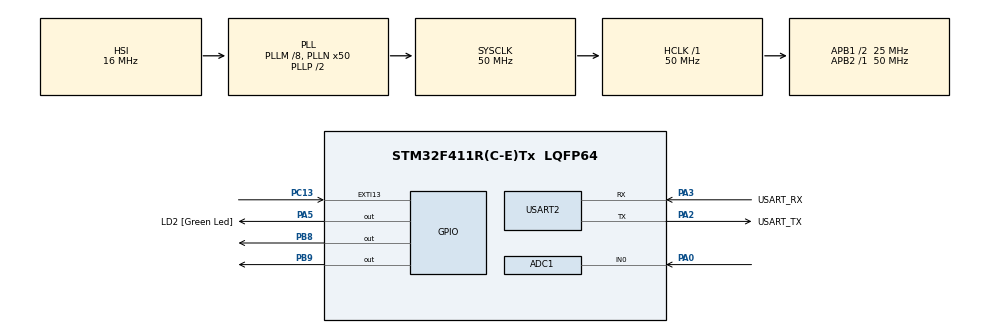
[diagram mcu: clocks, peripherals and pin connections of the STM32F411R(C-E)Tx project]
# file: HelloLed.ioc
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ADC1.Channel-2\#ChannelRegularConversion=ADC_CHANNEL_0
ADC1.NbrOfConversion=1
ADC1.NbrOfConversionFlag=1
ADC1.Rank-2\#ChannelRegularConversion=1
ADC1.SamplingTime-2\#ChannelRegularConversion=ADC_SAMPLETIME_3CYCLES
ADC1.master=1
Mcu.Family=STM32F4
Mcu.Name=STM32F411R(C-E)Tx
Mcu.Package=LQFP64
NVIC.PriorityGroup=NVIC_PRIORITYGROUP_0
PA0-WKUP.Signal=ADCx_IN0
PA13.GPIO_Label=TMS
PA13.Mode=Serial_Wire
PA13.Signal=SYS_JTMS-SWDIO
PA14.GPIO_Label=TCK
PA14.Mode=Serial_Wire
PA14.Signal=SYS_JTCK-SWCLK
PA2.GPIO_Label=USART_TX
PA2.Mode=Asynchronous
PA2.Signal=USART2_TX
PA3.GPIO_Label=USART_RX
PA3.Mode=Asynchronous
PA3.Signal=USART2_RX
PA5.GPIO_Label=LD2 [Green Led]
PA5.Signal=GPIO_Output
PB3.GPIO_Label=SWO
PB3.Signal=SYS_JTDO-SWO
PB8.Signal=GPIO_Output
PB9.Signal=GPIO_Output
PC13-ANTI_TAMP.Signal=GPXTI13
PC14-OSC32_IN.Mode=LSE-External-Oscillator
PC14-OSC32_IN.Signal=RCC_OSC32_IN
PC15-OSC32_OUT.Mode=LSE-External-Oscillator
PC15-OSC32_OUT.Signal=RCC_OSC32_OUT
PH0\ -\ OSC_IN.Mode=HSE-External-Clock-Source
PH0\ -\ OSC_IN.Signal=RCC_OSC_IN
PH1\ -\ OSC_OUT.Mode=HSE-External-Clock-Source
PH1\ -\ OSC_OUT.Signal=RCC_OSC_OUT
ProjectManager.HeapSize=0x200
ProjectManager.StackSize=0x400
ProjectManager.TargetToolchain=STM32CubeIDE
RCC.48MHZClocksFreq_Value=25000000
RCC.AHBFreq_Value=50000000
RCC.APB1CLKDivider=RCC_HCLK_DIV2
RCC.APB1Freq_Value=25000000
RCC.APB1TimFreq_Value=50000000
RCC.APB2Freq_Value=50000000
RCC.APB2TimFreq_Value=50000000
RCC.CortexFreq_Value=50000000
RCC.FLatency-AdvancedSettings=FLASH_LATENCY_1
RCC.HCLKFreq_Value=50000000
RCC.HSE_VALUE=8000000
RCC.HSI_VALUE=16000000
RCC.PLLM=8
RCC.PLLN=50
RCC.SYSCLKFreq_VALUE=50000000
RCC.SYSCLKSource=RCC_SYSCLKSOURCE_PLLCLK
RCC.VCOOutputFreq_Value=100000000
SH.ADCx_IN0.0=ADC1_IN0,IN0
USART2.VirtualMode=VM_ASYNC
board=NUCLEO-F411RE

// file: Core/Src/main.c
/* USER CODE BEGIN Header */
/**
  ******************************************************************************
  * @file           : main.c
  * @brief          : Main program body
  ******************************************************************************
  * @attention
  *
  * <h2><center>&copy; Copyright (c) 2020 STMicroelectronics.
  * All rights reserved.</center></h2>
  *
  * This software component is licensed by ST under BSD 3-Clause license,
  * the "License"; You may not use this file except in compliance with the
  * License. You may obtain a copy of the License at:
  *                        opensource.org/licenses/BSD-3-Clause
  *
  ******************************************************************************
  */
/* USER CODE END Header */
#include "main.h"

/* USER CODE BEGIN PD */
//#define LAB2_1
#define ADC_TEST
/* USER CODE END PD */

ADC_HandleTypeDef hadc1;

UART_HandleTypeDef huart2;

void SystemClock_Config(void);
static void MX_GPIO_Init(void);
static void MX_USART2_UART_Init(void);
static void MX_ADC1_Init(void);

/* USER CODE BEGIN 0 */
#ifdef TEACHING_USART
char Rx_data[10];
void HAL_UART_RxCpltCallback(UART_HandleTypeDef *huart)
{
	int y = 0;
  HAL_UART_Receive_IT(&huart2, Rx_data, 4);
}
#endif
/* USER CODE END 0 */

int main(void)
{

  /* MCU Configuration--------------------------------------------------------*/

  /* Reset of all peripherals, Initializes the Flash interface and the Systick. */
  HAL_Init();

  /* Configure the system clock */
  SystemClock_Config();

  /* Initialize all configured peripherals */
  MX_GPIO_Init();
  MX_USART2_UART_Init();
  MX_ADC1_Init();
  /* USER CODE BEGIN 2 */

  #ifdef LAB2_1
  int mode = 0;
  int buttonState = 1;
  int buttonLastState = 1;
  int delay = 100;
  uint32_t tickstart = HAL_GetTick();
  #endif

  #ifdef LAB2_2
  int index = 0;
  #endif

  #ifdef TEACHING_GPIO
  GPIOB->ODR = (1<<8);
  GPIOB->ODR = (1<<9);

  #endif
#ifdef TEACHING_USART
  HAL_UART_Receive_IT (&huart2, Rx_data, 4);
#endif

  /* USER CODE END 2 */

  /* Infinite loop */
  /* USER CODE BEGIN WHILE */
  while (1)
  {
	  #ifdef LAB1
	  HAL_GPIO_TogglePin(GPIOA, GPIO_PIN_5);
	  HAL_Delay(100);
	  #endif

	  #ifdef LAB2_1 // Non-blocking w/o interrupt button

	  //--------------buttonHandlePart---------------
	  buttonLastState = buttonState;
	  // Check for exactly 0
	  if (!HAL_GPIO_ReadPin(GPIOC, GPIO_PIN_13)) {
		  HAL_Delay(10);
		  if (!HAL_GPIO_ReadPin(GPIOC, GPIO_PIN_13)){
			  buttonState = 0;
		  }
	  }

	  // Check for exactly 1
	  else if (HAL_GPIO_ReadPin(GPIOC, GPIO_PIN_13)) {
		  HAL_Delay(10);
		  if (HAL_GPIO_ReadPin(GPIOC, GPIO_PIN_13)){
			  buttonState = 1;
		  }
	  }
	  //--------------EndbuttonHandlePart---------------
	  switch (mode) {
	  	  case 1:
	  		  delay = 50;
	  		  break;
	  	  case 2:
	  		  delay = 200;
	  		  break;
	  	  case 3:
	  		  delay = 500;
	  		  break;
	  }

	  // Check for buttonState 1->0
	  if (buttonState < buttonLastState) {
		  mode = (mode + 1)%4;
	  }

	  if (mode && HAL_GetTick() - tickstart > delay) {
		  tickstart = HAL_GetTick();
		  HAL_GPIO_TogglePin(GPIOA, GPIO_PIN_5);
	  }
	  #endif

	  #ifdef LAB2_2
      char t[8];
      	  if (HAL_UART_Receive(&huart2, t + index , 1, 1000)==HAL_OK){
      		  HAL_UART_Transmit(&huart2, t + index, 1, 1000);
      		  // When you hit enter, depends on your terminal, it may input as '\r' or '\n' or both
      		  if (t[index] =='\r' || t[index] == '\n') {
      			  if (t[0] =='o' && t[1]=='n' && (t[2] == '\r' || t[2] == '\n'))
      				  HAL_GPIO_WritePin(GPIOA, GPIO_PIN_5, GPIO_PIN_SET);
      			  if (t[0] =='o' && t[1]=='f' && t[2]=='f' && (t[3] == '\r' || t[3] == '\n'))
      				  HAL_GPIO_WritePin(GPIOA, GPIO_PIN_5, GPIO_PIN_RESET);
      			  index = 0;
      		  }
      		  else index = (index + 1)%8;
      	  }

	  #endif

      	#ifdef TEACHING_GPIO
      	  GPIOB->ODR = (1<<8);
      	HAL_Delay(100);
      	  GPIOB->ODR = (1<<9);
      	HAL_Delay(100);

      	#endif

		#ifdef TEACHING_USART
      	uint8_t x[10];
      	for(int i = 0 ; i < 10; i++) x[i] = Rx_data[i];
//      	for (int i = 0 ; i < 3 ; i++) x[i] = 0;
//      	int status = 0;
//      	status = HAL_UART_Receive(&huart2,x,2,10000);
//      	int y = 0;

		#endif

#ifdef ADC_TEST

#endif

    /* USER CODE END WHILE */

  }
}

void SystemClock_Config(void)
{
  RCC_OscInitTypeDef RCC_OscInitStruct = {0};
  RCC_ClkInitTypeDef RCC_ClkInitStruct = {0};

  /** Configure the main internal regulator output voltage
  */
  __HAL_RCC_PWR_CLK_ENABLE();
  __HAL_PWR_VOLTAGESCALING_CONFIG(PWR_REGULATOR_VOLTAGE_SCALE1);
  /** Initializes the RCC Oscillators according to the specified parameters
  * in the RCC_OscInitTypeDef structure.
  */
  RCC_OscInitStruct.OscillatorType = RCC_OSCILLATORTYPE_HSI;
  RCC_OscInitStruct.HSIState = RCC_HSI_ON;
  RCC_OscInitStruct.HSICalibrationValue = RCC_HSICALIBRATION_DEFAULT;
  RCC_OscInitStruct.PLL.PLLState = RCC_PLL_ON;
  RCC_OscInitStruct.PLL.PLLSource = RCC_PLLSOURCE_HSI;
  RCC_OscInitStruct.PLL.PLLM = 8;
  RCC_OscInitStruct.PLL.PLLN = 50;
  RCC_OscInitStruct.PLL.PLLP = RCC_PLLP_DIV2;
  RCC_OscInitStruct.PLL.PLLQ = 4;
  if (HAL_RCC_OscConfig(&RCC_OscInitStruct) != HAL_OK)
  {
    Error_Handler();
  }
  /** Initializes the CPU, AHB and APB buses clocks
  */
  RCC_ClkInitStruct.ClockType = RCC_CLOCKTYPE_HCLK|RCC_CLOCKTYPE_SYSCLK
                              |RCC_CLOCKTYPE_PCLK1|RCC_CLOCKTYPE_PCLK2;
  RCC_ClkInitStruct.SYSCLKSource = RCC_SYSCLKSOURCE_PLLCLK;
  RCC_ClkInitStruct.AHBCLKDivider = RCC_SYSCLK_DIV1;
  RCC_ClkInitStruct.APB1CLKDivider = RCC_HCLK_DIV2;
  RCC_ClkInitStruct.APB2CLKDivider = RCC_HCLK_DIV1;

  if (HAL_RCC_ClockConfig(&RCC_ClkInitStruct, FLASH_LATENCY_1) != HAL_OK)
  {
    Error_Handler();
  }
}

static void MX_ADC1_Init(void)
{

  ADC_ChannelConfTypeDef sConfig = {0};

  /** Configure the global features of the ADC (Clock, Resolution, Data Alignment and number of conversion)
  */
  hadc1.Instance = ADC1;
  hadc1.Init.ClockPrescaler = ADC_CLOCK_SYNC_PCLK_DIV2;
  hadc1.Init.Resolution = ADC_RESOLUTION_12B;
  hadc1.Init.ScanConvMode = DISABLE;
  hadc1.Init.ContinuousConvMode = DISABLE;
  hadc1.Init.DiscontinuousConvMode = DISABLE;
  hadc1.Init.ExternalTrigConvEdge = ADC_EXTERNALTRIGCONVEDGE_NONE;
  hadc1.Init.ExternalTrigConv = ADC_SOFTWARE_START;
  hadc1.Init.DataAlign = ADC_DATAALIGN_RIGHT;
  hadc1.Init.NbrOfConversion = 1;
  hadc1.Init.DMAContinuousRequests = DISABLE;
  hadc1.Init.EOCSelection = ADC_EOC_SINGLE_CONV;
  if (HAL_ADC_Init(&hadc1) != HAL_OK)
  {
    Error_Handler();
  }
  /** Configure for the selected ADC regular channel its corresponding rank in the sequencer and its sample time.
  */
  sConfig.Channel = ADC_CHANNEL_0;
  sConfig.Rank = 1;
  sConfig.SamplingTime = ADC_SAMPLETIME_3CYCLES;
  if (HAL_ADC_ConfigChannel(&hadc1, &sConfig) != HAL_OK)
  {
    Error_Handler();
  }

}

static void MX_USART2_UART_Init(void)
{

  huart2.Instance = USART2;
  huart2.Init.BaudRate = 115200;
  huart2.Init.WordLength = UART_WORDLENGTH_8B;
  huart2.Init.StopBits = UART_STOPBITS_1;
  huart2.Init.Parity = UART_PARITY_NONE;
  huart2.Init.Mode = UART_MODE_TX_RX;
  huart2.Init.HwFlowCtl = UART_HWCONTROL_NONE;
  huart2.Init.OverSampling = UART_OVERSAMPLING_16;
  if (HAL_UART_Init(&huart2) != HAL_OK)
  {
    Error_Handler();
  }

}

static void MX_GPIO_Init(void)
{
  GPIO_InitTypeDef GPIO_InitStruct = {0};

  /* GPIO Ports Clock Enable */
  __HAL_RCC_GPIOC_CLK_ENABLE();
  __HAL_RCC_GPIOH_CLK_ENABLE();
  __HAL_RCC_GPIOA_CLK_ENABLE();
  __HAL_RCC_GPIOB_CLK_ENABLE();

  /*Configure GPIO pin Output Level */
  HAL_GPIO_WritePin(LD2_GPIO_Port, LD2_Pin, GPIO_PIN_RESET);

  /*Configure GPIO pin Output Level */
  HAL_GPIO_WritePin(GPIOB, GPIO_PIN_8|GPIO_PIN_9, GPIO_PIN_RESET);

  /*Configure GPIO pin : PC13 */
  GPIO_InitStruct.Pin = GPIO_PIN_13;
  GPIO_InitStruct.Mode = GPIO_MODE_IT_RISING;
  GPIO_InitStruct.Pull = GPIO_NOPULL;
  HAL_GPIO_Init(GPIOC, &GPIO_InitStruct);

  /*Configure GPIO pin : LD2_Pin */
  GPIO_InitStruct.Pin = LD2_Pin;
  GPIO_InitStruct.Mode = GPIO_MODE_OUTPUT_PP;
  GPIO_InitStruct.Pull = GPIO_NOPULL;
  GPIO_InitStruct.Speed = GPIO_SPEED_FREQ_LOW;
  HAL_GPIO_Init(LD2_GPIO_Port, &GPIO_InitStruct);

  /*Configure GPIO pins : PB8 PB9 */
  GPIO_InitStruct.Pin = GPIO_PIN_8|GPIO_PIN_9;
  GPIO_InitStruct.Mode = GPIO_MODE_OUTPUT_PP;
  GPIO_InitStruct.Pull = GPIO_NOPULL;
  GPIO_InitStruct.Speed = GPIO_SPEED_FREQ_LOW;
  HAL_GPIO_Init(GPIOB, &GPIO_InitStruct);

}

void Error_Handler(void)
{
}

/************************ (C) COPYRIGHT STMicroelectronics *****END OF FILE****/
